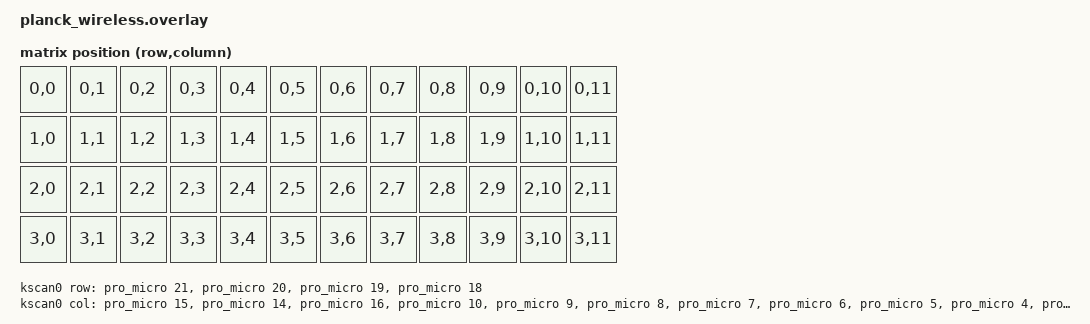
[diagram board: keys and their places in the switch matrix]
/*
 * Planck (4x12 ortho, 48 keys) on nice!nano v2
 * Per-key SK6812mini-e RGB + 0.91" SSD1306 OLED
 *
 * SPDX-License-Identifier: MIT
 *
 * ---------------------------------------------------------------
 * PIN MAP (nice!nano v2, Pro Micro-style labels)
 * ---------------------------------------------------------------
 *  Rows (diodes: col2row)   : 21, 20, 19, 18
 *  Cols                     : 15, 14, 16, 10, 9, 8, 7, 6, 5, 4, 1,
 *                             and P1.07 (the pad in the middle of the board)
 *  OLED SDA / SCL           : 2 / 3   (pro_micro_i2c)
 *  SK6812 data in           : 0       (P0.06, SPI3 MOSI - see boards/ overlay)
 * ---------------------------------------------------------------
 */

#include <dt-bindings/zmk/matrix_transform.h>

/ {
    chosen {
        zmk,kscan = &kscan0;
        zmk,physical-layout = &physical_layout0;
        zephyr,display = &oled;
    };

    kscan0: kscan {
        compatible = "zmk,kscan-gpio-matrix";
        wakeup-source;

        diode-direction = "col2row";

        row-gpios
            = <&pro_micro 21 (GPIO_ACTIVE_HIGH | GPIO_PULL_DOWN)>
            , <&pro_micro 20 (GPIO_ACTIVE_HIGH | GPIO_PULL_DOWN)>
            , <&pro_micro 19 (GPIO_ACTIVE_HIGH | GPIO_PULL_DOWN)>
            , <&pro_micro 18 (GPIO_ACTIVE_HIGH | GPIO_PULL_DOWN)>
            ;

        col-gpios
            = <&pro_micro 15 GPIO_ACTIVE_HIGH>
            , <&pro_micro 14 GPIO_ACTIVE_HIGH>
            , <&pro_micro 16 GPIO_ACTIVE_HIGH>
            , <&pro_micro 10 GPIO_ACTIVE_HIGH>
            , <&pro_micro 9 GPIO_ACTIVE_HIGH>
            , <&pro_micro 8 GPIO_ACTIVE_HIGH>
            , <&pro_micro 7 GPIO_ACTIVE_HIGH>
            , <&pro_micro 6 GPIO_ACTIVE_HIGH>
            , <&pro_micro 5 GPIO_ACTIVE_HIGH>
            , <&pro_micro 4 GPIO_ACTIVE_HIGH>
            , <&pro_micro 1 GPIO_ACTIVE_HIGH>
            , <&gpio1 7 GPIO_ACTIVE_HIGH>
            ;
    };

    default_transform: keymap_transform_0 {
        compatible = "zmk,matrix-transform";
        columns = <12>;
        rows = <4>;
        map = <
            RC(0,0) RC(0,1) RC(0,2) RC(0,3) RC(0,4)  RC(0,5)  RC(0,6)  RC(0,7)  RC(0,8)  RC(0,9)  RC(0,10) RC(0,11)
            RC(1,0) RC(1,1) RC(1,2) RC(1,3) RC(1,4)  RC(1,5)  RC(1,6)  RC(1,7)  RC(1,8)  RC(1,9)  RC(1,10) RC(1,11)
            RC(2,0) RC(2,1) RC(2,2) RC(2,3) RC(2,4)  RC(2,5)  RC(2,6)  RC(2,7)  RC(2,8)  RC(2,9)  RC(2,10) RC(2,11)
            RC(3,0) RC(3,1) RC(3,2) RC(3,3) RC(3,4)  RC(3,5)  RC(3,6)  RC(3,7)  RC(3,8)  RC(3,9)  RC(3,10) RC(3,11)
        >;
    };

    physical_layout0: physical_layout_0 {
        compatible = "zmk,physical-layout";
        display-name = "Planck 4x12 grid";
        transform = <&default_transform>;
        kscan = <&kscan0>;
    };
};

/* 0.91" 128x32 SSD1306 on I2C, address 0x3C */
&pro_micro_i2c {
    status = "okay";

    oled: ssd1306@3c {
        compatible = "solomon,ssd1306fb";
        reg = <0x3c>;
        width = <128>;
        height = <32>;
        segment-offset = <0>;
        page-offset = <0>;
        display-offset = <0>;
        multiplex-ratio = <31>;
        segment-remap;
        com-invdir;
        com-sequential;
        prechargep = <0x22>;
    };
};
